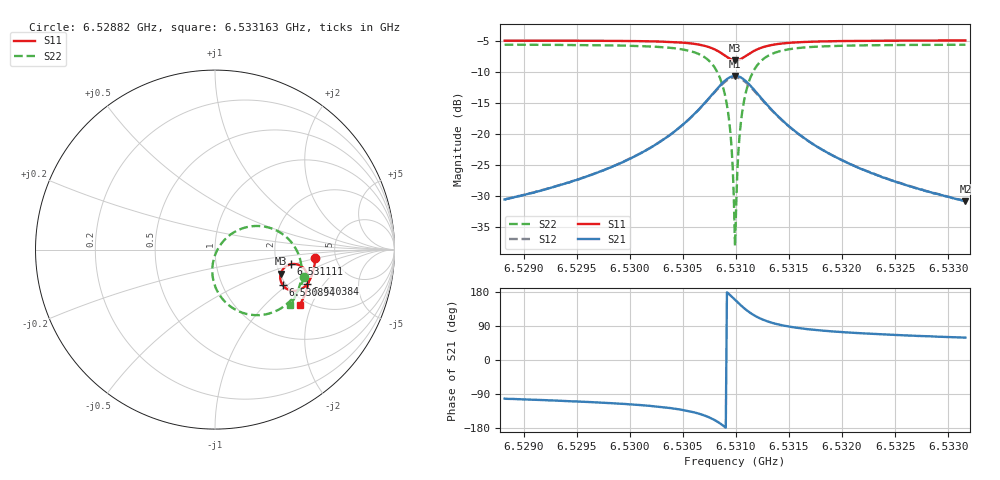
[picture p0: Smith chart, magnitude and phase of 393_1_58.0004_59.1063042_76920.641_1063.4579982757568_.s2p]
#  HZ  S  RI  R  50.00
! Rohde & Schwarz Vector Network Analyzer
! Rohde-Schwarz,ZNB20-2Port,1311601062101988,3.16
! Created: UTC 3/21/2024, 1:07:55 AM
! freq[Hz]  re:S11  im:S11  re:S21  im:S21  re:S12  im:S12  re:S22  im:S22
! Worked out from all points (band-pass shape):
!   401 points, 6.52882 GHz to 6.533163 GHz, reference 50 ohm
!   highest |S21| = -10.67 dB at 6.530992 GHz (marker M1); lowest = -30.8 dB at 6.533163 GHz (marker M2)
!   |S21| within 3 dB of the highest: 6.530776 GHz to 6.53121 GHz (434.5 kHz wide, 0.00665 % of centre)
!   lowest |S11| = -8.2 dB at 6.530992 GHz (marker M3), VSWR 2.28, Z = 101 - j31.9 ohm
!   |S11| at or under -10 dB: nowhere
!   |S22| runs from -38.0 to -5.7 dB; largest |S21 - S12| = 0.011
!   S11 on the Smith chart (normalised r, x): 6.52882 GHz: 3.48, -0.49; 6.530384 GHz: 2.56, -1.40; 6.530894 GHz: 1.92, -0.94; 6.531111 GHz: 2.41, -0.48; 6.533163 GHz: 1.83, -1.65
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6.5288203e9  0.5592 -0.0485  -0.00614 -0.0291  -0.00686 -0.029  0.4981 -0.1514
6.5295477e9  0.5498 -0.1083  -0.0152 -0.0414  -0.0161 -0.0412  0.4692 -0.2181
6.5302751e9  0.5226 -0.179  -0.047 -0.0712  -0.0488 -0.07  0.3917 -0.3105
6.5303837e9  0.5137 -0.1916  -0.0593 -0.079  -0.0617 -0.0774  0.3655 -0.3286
6.5307311e9  0.4473 -0.2298  -0.161 -0.0952  -0.1631 -0.0888  0.1734 -0.358
6.5308289e9  0.407 -0.2226  -0.2238 -0.0672  -0.2228 -0.0583  0.0672 -0.3016
6.530894e9  0.3785 -0.1993  -0.2657 -0.0175  -0.2606 -0.00825  0.00341 -0.2113
6.5309374e9  0.3659 -0.1731  -0.2815 0.0328  -0.2736 0.0404  -0.0152 -0.1251
6.5309591e9  0.3635 -0.1577  -0.2824 0.0615  -0.2735 0.0678  -0.0122 -0.0776
6.53097e9  0.3637 -0.1497  -0.2809 0.0762  -0.2715 0.0815  -0.00718 -0.0538
6.5309809e9  0.3645 -0.1416  -0.2777 0.0906  -0.268 0.0952  0.000204 -0.0304
6.5309917e9  0.3664 -0.1337  -0.2732 0.1049  -0.2633 0.1085  0.00995 -0.00762
6.5310134e9  0.3725 -0.1187  -0.2599 0.1316  -0.25 0.1334  0.0359 0.0341
6.5310243e9  0.3769 -0.1119  -0.2516 0.1437  -0.2419 0.1447  0.0515 0.0528
6.531046e9  0.3871 -0.1  -0.2318 0.1649  -0.2228 0.1643  0.0872 0.0844
6.5310786e9  0.4056 -0.0875  -0.1979 0.1874  -0.1905 0.1853  0.1468 0.1162
6.5311111e9  0.425 -0.081  -0.1631 0.1992  -0.1572 0.1963  0.2068 0.1303
6.5311871e9  0.4641 -0.0844  -0.094 0.1973  -0.091 0.1945  0.3228 0.115
6.5312957e9  0.4973 -0.1071  -0.0359 0.1669  -0.0344 0.1655  0.4175 0.05
6.5317191e9  0.5193 -0.1833  0.0145 0.0825  0.0154 0.0822  0.4831 -0.1287
6.5324466e9  0.4994 -0.2554  0.0169 0.0395  0.0176 0.0394  0.4556 -0.2445
6.5331631e9  0.4716 -0.308  0.0149 0.0248  0.0154 0.0245  0.4203 -0.3065
